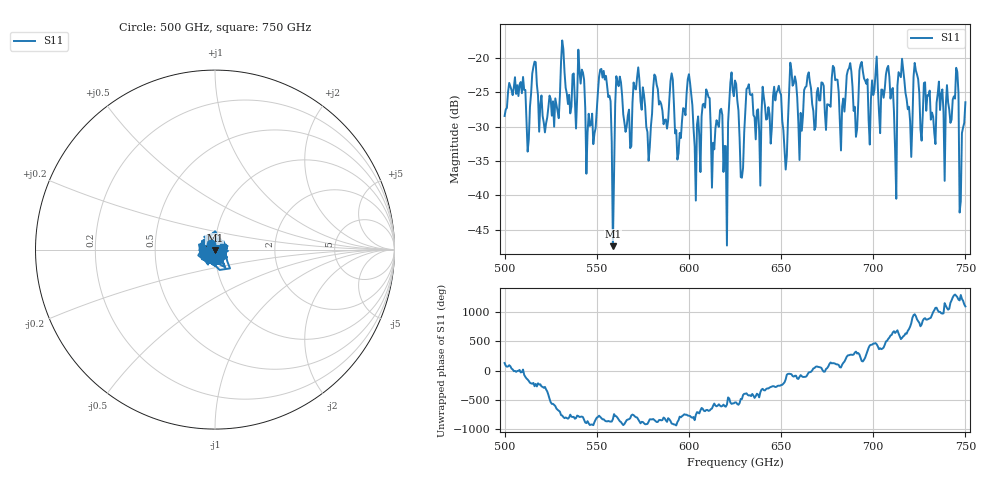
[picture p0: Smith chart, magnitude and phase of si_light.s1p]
!Created with skrf (http://scikit-rf.org).
# GHz S MA R 50.0
!freq magS11 angS11
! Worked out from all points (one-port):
!   401 points, 500 GHz to 750 GHz, reference 50 ohm
!   lowest |S11| = -47.4 dB at 558.8 GHz (marker M1), VSWR 1.01, Z = 49.8 - j0.392 ohm
!   |S11| at or under -10 dB: start of sweep to end of sweep
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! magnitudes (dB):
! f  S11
! 500 GHz  -28.4
! 513.1 GHz  -31.8
! 516.2 GHz  -20.5
! 521.9 GHz  -30.8
! 531.2 GHz  -17.5
! 545.6 GHz  -28.1
! 553.8 GHz  -21.9
! 558.8 GHz  -47.4
! 562.5 GHz  -22.7
! 578.1 GHz  -34.9
! 590.6 GHz  -22.2
! 593.8 GHz  -34.8
! 600 GHz  -22.4
! 605 GHz  -28.5
! 610 GHz  -25.1
! 620 GHz  -32.8
! 625 GHz  -23.3
! 628.8 GHz  -37.4
! 632.5 GHz  -23.8
! 648.8 GHz  -24.1
! 652.5 GHz  -36.2
! 656.2 GHz  -24.0
! 660.6 GHz  -28.0
! 687.5 GHz  -20.7
! 718.8 GHz  -27.5
! 745 GHz  -21.4
! 748.1 GHz  -30.9
! 750 GHz  -26.4
